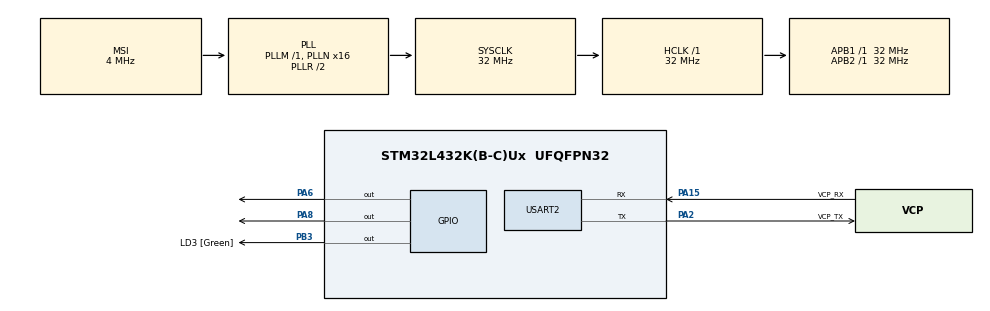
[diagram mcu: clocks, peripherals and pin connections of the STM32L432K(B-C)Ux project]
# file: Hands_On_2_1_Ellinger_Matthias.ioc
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FREERTOS.BinarySemaphores01=LedSemaphore,Dynamic,NULL,Available
FREERTOS.Tasks01=redLedTask,24,128,StartredLedTask,Default,NULL,Dynamic,NULL,NULL;greenLedTask,8,128,StartgreenLedTask,Default,NULL,Dynamic,NULL,NULL
FREERTOS.configUSE_NEWLIB_REENTRANT=1
Mcu.Family=STM32L4
Mcu.Name=STM32L432K(B-C)Ux
Mcu.Package=UFQFPN32
NVIC.PriorityGroup=NVIC_PRIORITYGROUP_4
NVIC.TIM6_DAC_IRQn=true\:15\:0\:false\:false\:true\:false\:false\:true\:true
NVIC.TimeBase=TIM6_DAC_IRQn
NVIC.TimeBaseIP=TIM6
PA0.GPIO_Label=MCO [High speed clock in]
PA0.Mode=HSE-External-Clock-Source-for-LittleOrca
PA0.Signal=RCC_CK_IN
PA13\ (JTMS-SWDIO).GPIO_Label=SWDIO
PA13\ (JTMS-SWDIO).Mode=Serial_Wire
PA13\ (JTMS-SWDIO).Signal=SYS_JTMS-SWDIO
PA14\ (JTCK-SWCLK).GPIO_Label=SWCLK
PA14\ (JTCK-SWCLK).Mode=Serial_Wire
PA14\ (JTCK-SWCLK).Signal=SYS_JTCK-SWCLK
PA15\ (JTDI).GPIO_Label=VCP_RX
PA15\ (JTDI).Mode=Asynchronous
PA15\ (JTDI).Signal=USART2_RX
PA2.GPIO_Label=VCP_TX
PA2.Mode=Asynchronous
PA2.Signal=USART2_TX
PA6.Signal=GPIO_Output
PA8.Signal=GPIO_Output
PB3\ (JTDO-TRACESWO).GPIO_Label=LD3 [Green]
PB3\ (JTDO-TRACESWO).Signal=GPIO_Output
PC14-OSC32_IN\ (PC14).Mode=LSE-External-Oscillator
PC14-OSC32_IN\ (PC14).Signal=RCC_OSC32_IN
PC15-OSC32_OUT\ (PC15).Mode=LSE-External-Oscillator
PC15-OSC32_OUT\ (PC15).Signal=RCC_OSC32_OUT
ProjectManager.HeapSize=0x200
ProjectManager.StackSize=0x400
ProjectManager.TargetToolchain=STM32CubeIDE
RCC.AHBFreq_Value=32000000
RCC.APB1Freq_Value=32000000
RCC.APB1TimFreq_Value=32000000
RCC.APB2Freq_Value=32000000
RCC.APB2TimFreq_Value=32000000
RCC.CortexFreq_Value=32000000
RCC.HCLKFreq_Value=32000000
RCC.HSE_VALUE=8000000
RCC.HSI16_VALUE=16000000
RCC.HSI48_VALUE=48000000
RCC.HSI_VALUE=16000000
RCC.MSI_VALUE=4000000
RCC.PLLMUL=RCC_PLLMUL_4
RCC.PLLN=16
RCC.SYSCLKFreq_VALUE=32000000
RCC.SYSCLKSource=RCC_SYSCLKSOURCE_PLLCLK
RCC.VCOOutputFreq_Value=64000000
USART2.VirtualMode-Asynchronous=VM_ASYNC
VP_FREERTOS_VS_CMSIS_V2.Mode=CMSIS_V2
VP_SYS_VS_tim6.Mode=TIM6
board=NUCLEO-L432KC

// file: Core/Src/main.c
/* USER CODE BEGIN Header */
/**
  ******************************************************************************
  * @file           : main.c
  * @brief          : Main program body
  ******************************************************************************
  * @attention
  *
  * Copyright (c) 2026 STMicroelectronics.
  * All rights reserved.
  *
  * This software is licensed under terms that can be found in the LICENSE file
  * in the root directory of this software component.
  * If no LICENSE file comes with this software, it is provided AS-IS.
  *
  ******************************************************************************
  */
/* USER CODE END Header */
#include "main.h"
#include "cmsis_os.h"

/* USER CODE BEGIN Includes */
#include "semphr.h"
/* USER CODE END Includes */

UART_HandleTypeDef huart2;

/* Definitions for redLedTask */
osThreadId_t redLedTaskHandle;
const osThreadAttr_t redLedTask_attributes = {
  .name = "redLedTask",
  .stack_size = 128 * 4,
  .priority = (osPriority_t) osPriorityNormal,
};
/* Definitions for greenLedTask */
osThreadId_t greenLedTaskHandle;
const osThreadAttr_t greenLedTask_attributes = {
  .name = "greenLedTask",
  .stack_size = 128 * 4,
  .priority = (osPriority_t) osPriorityLow,
};
/* Definitions for LedSemaphore */
osSemaphoreId_t LedSemaphoreHandle;
const osSemaphoreAttr_t LedSemaphore_attributes = {
  .name = "LedSemaphore"
};

void SystemClock_Config(void);
static void MX_GPIO_Init(void);
static void MX_USART2_UART_Init(void);
void StartredLedTask(void *argument);
void StartgreenLedTask(void *argument);

int main(void)
{

  /* MCU Configuration--------------------------------------------------------*/

  /* Reset of all peripherals, Initializes the Flash interface and the Systick. */
  HAL_Init();

  /* Configure the system clock */
  SystemClock_Config();

  /* Initialize all configured peripherals */
  MX_GPIO_Init();
  MX_USART2_UART_Init();

  /* Init scheduler */
  osKernelInitialize();

  /* Create the semaphores(s) */
  /* creation of LedSemaphore */
  LedSemaphoreHandle = osSemaphoreNew(1, 1, &LedSemaphore_attributes);

  /* Create the thread(s) */
  /* creation of redLedTask */
  redLedTaskHandle = osThreadNew(StartredLedTask, NULL, &redLedTask_attributes);

  /* creation of greenLedTask */
  greenLedTaskHandle = osThreadNew(StartgreenLedTask, NULL, &greenLedTask_attributes);

  /* Start scheduler */
  osKernelStart();

  /* We should never get here as control is now taken by the scheduler */

  /* Infinite loop */
  while (1)
  {

  }
}

void SystemClock_Config(void)
{
  RCC_OscInitTypeDef RCC_OscInitStruct = {0};
  RCC_ClkInitTypeDef RCC_ClkInitStruct = {0};

  /** Configure the main internal regulator output voltage
  */
  if (HAL_PWREx_ControlVoltageScaling(PWR_REGULATOR_VOLTAGE_SCALE1) != HAL_OK)
  {
    Error_Handler();
  }

  /** Configure LSE Drive Capability
  */
  HAL_PWR_EnableBkUpAccess();
  __HAL_RCC_LSEDRIVE_CONFIG(RCC_LSEDRIVE_LOW);

  /** Initializes the RCC Oscillators according to the specified parameters
  * in the RCC_OscInitTypeDef structure.
  */
  RCC_OscInitStruct.OscillatorType = RCC_OSCILLATORTYPE_LSE|RCC_OSCILLATORTYPE_MSI;
  RCC_OscInitStruct.LSEState = RCC_LSE_ON;
  RCC_OscInitStruct.MSIState = RCC_MSI_ON;
  RCC_OscInitStruct.MSICalibrationValue = 0;
  RCC_OscInitStruct.MSIClockRange = RCC_MSIRANGE_6;
  RCC_OscInitStruct.PLL.PLLState = RCC_PLL_ON;
  RCC_OscInitStruct.PLL.PLLSource = RCC_PLLSOURCE_MSI;
  RCC_OscInitStruct.PLL.PLLM = 1;
  RCC_OscInitStruct.PLL.PLLN = 16;
  RCC_OscInitStruct.PLL.PLLP = RCC_PLLP_DIV7;
  RCC_OscInitStruct.PLL.PLLQ = RCC_PLLQ_DIV2;
  RCC_OscInitStruct.PLL.PLLR = RCC_PLLR_DIV2;
  if (HAL_RCC_OscConfig(&RCC_OscInitStruct) != HAL_OK)
  {
    Error_Handler();
  }

  /** Initializes the CPU, AHB and APB buses clocks
  */
  RCC_ClkInitStruct.ClockType = RCC_CLOCKTYPE_HCLK|RCC_CLOCKTYPE_SYSCLK
                              |RCC_CLOCKTYPE_PCLK1|RCC_CLOCKTYPE_PCLK2;
  RCC_ClkInitStruct.SYSCLKSource = RCC_SYSCLKSOURCE_PLLCLK;
  RCC_ClkInitStruct.AHBCLKDivider = RCC_SYSCLK_DIV1;
  RCC_ClkInitStruct.APB1CLKDivider = RCC_HCLK_DIV1;
  RCC_ClkInitStruct.APB2CLKDivider = RCC_HCLK_DIV1;

  if (HAL_RCC_ClockConfig(&RCC_ClkInitStruct, FLASH_LATENCY_1) != HAL_OK)
  {
    Error_Handler();
  }

  /** Enable MSI Auto calibration
  */
  HAL_RCCEx_EnableMSIPLLMode();
}

static void MX_USART2_UART_Init(void)
{

  huart2.Instance = USART2;
  huart2.Init.BaudRate = 115200;
  huart2.Init.WordLength = UART_WORDLENGTH_8B;
  huart2.Init.StopBits = UART_STOPBITS_1;
  huart2.Init.Parity = UART_PARITY_NONE;
  huart2.Init.Mode = UART_MODE_TX_RX;
  huart2.Init.HwFlowCtl = UART_HWCONTROL_NONE;
  huart2.Init.OverSampling = UART_OVERSAMPLING_16;
  huart2.Init.OneBitSampling = UART_ONE_BIT_SAMPLE_DISABLE;
  huart2.AdvancedInit.AdvFeatureInit = UART_ADVFEATURE_NO_INIT;
  if (HAL_UART_Init(&huart2) != HAL_OK)
  {
    Error_Handler();
  }

}

static void MX_GPIO_Init(void)
{
  GPIO_InitTypeDef GPIO_InitStruct = {0};

  /* GPIO Ports Clock Enable */
  __HAL_RCC_GPIOC_CLK_ENABLE();
  __HAL_RCC_GPIOA_CLK_ENABLE();
  __HAL_RCC_GPIOB_CLK_ENABLE();

  /*Configure GPIO pin Output Level */
  HAL_GPIO_WritePin(GPIOA, GPIO_PIN_6|GPIO_PIN_8, GPIO_PIN_RESET);

  /*Configure GPIO pin Output Level */
  HAL_GPIO_WritePin(LD3_GPIO_Port, LD3_Pin, GPIO_PIN_RESET);

  /*Configure GPIO pins : PA6 PA8 */
  GPIO_InitStruct.Pin = GPIO_PIN_6|GPIO_PIN_8;
  GPIO_InitStruct.Mode = GPIO_MODE_OUTPUT_PP;
  GPIO_InitStruct.Pull = GPIO_NOPULL;
  GPIO_InitStruct.Speed = GPIO_SPEED_FREQ_LOW;
  HAL_GPIO_Init(GPIOA, &GPIO_InitStruct);

  /*Configure GPIO pin : LD3_Pin */
  GPIO_InitStruct.Pin = LD3_Pin;
  GPIO_InitStruct.Mode = GPIO_MODE_OUTPUT_PP;
  GPIO_InitStruct.Pull = GPIO_NOPULL;
  GPIO_InitStruct.Speed = GPIO_SPEED_FREQ_LOW;
  HAL_GPIO_Init(LD3_GPIO_Port, &GPIO_InitStruct);

}

void StartredLedTask(void *argument)
{
  /* USER CODE BEGIN 5 */
	HAL_GPIO_WritePin(GPIOA, GPIO_PIN_6, GPIO_PIN_SET);
  /* Infinite loop */
  for(;;)
  {
	  osDelay(3000);
	  xSemaphoreTake(LedSemaphoreHandle, HAL_MAX_DELAY);
	  for(int i = 0; i<3; i++)
	  {
		  HAL_GPIO_WritePin(GPIOA, GPIO_PIN_6, GPIO_PIN_RESET);
		  osDelay(200);
		  HAL_GPIO_WritePin(GPIOA, GPIO_PIN_6, GPIO_PIN_SET);
		  osDelay(200);
	  }
	  xSemaphoreGive(LedSemaphoreHandle);

  }
  /* USER CODE END 5 */
}

void StartgreenLedTask(void *argument)
{
  /* USER CODE BEGIN StartgreenLedTask */
	HAL_GPIO_WritePin(GPIOA, GPIO_PIN_8, GPIO_PIN_SET);
  /* Infinite loop */
  for(;;)
  {
	  osDelay(5000);
	  xSemaphoreTake(LedSemaphoreHandle, HAL_MAX_DELAY);
	  for(int i = 0; i<2; i++)
	  {
		  HAL_GPIO_WritePin(GPIOA, GPIO_PIN_8, GPIO_PIN_RESET);
		  osDelay(200);
		  HAL_GPIO_WritePin(GPIOA, GPIO_PIN_8, GPIO_PIN_SET);
		  osDelay(200);
	  }
	  xSemaphoreGive(LedSemaphoreHandle);
  }
  /* USER CODE END StartgreenLedTask */
}

void HAL_TIM_PeriodElapsedCallback(TIM_HandleTypeDef *htim)
{
  if (htim->Instance == TIM6)
  {
    HAL_IncTick();
  }
}

void Error_Handler(void)
{
  __disable_irq();
  while (1)
  {
  }
}
